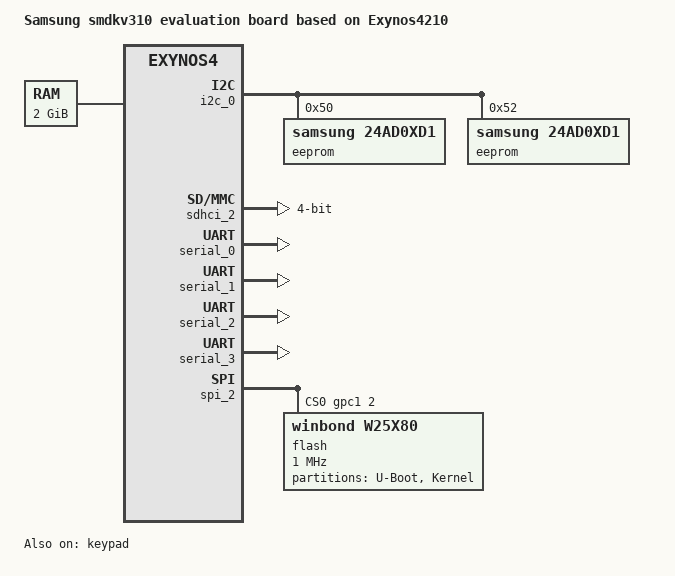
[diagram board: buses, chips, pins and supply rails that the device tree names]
// SPDX-License-Identifier: GPL-2.0
/*
 * Samsung's Exynos4210 based SMDKV310 board device tree source
 *
 * Copyright (c) 2010-2011 Samsung Electronics Co., Ltd.
 *		http://www.samsung.com
 * Copyright (c) 2010-2011 Linaro Ltd.
 *		www.linaro.org
 *
 * Device tree source file for Samsung's SMDKV310 board which is based on
 * Samsung's Exynos4210 SoC.
 */

/dts-v1/;
#include "exynos4210.dtsi"
#include <dt-bindings/gpio/gpio.h>
#include "exynos-mfc-reserved-memory.dtsi"

/ {
	model = "Samsung smdkv310 evaluation board based on Exynos4210";
	compatible = "samsung,smdkv310", "samsung,exynos4210", "samsung,exynos4";

	memory@40000000 {
		device_type = "memory";
		reg = <0x40000000 0x80000000>;
	};

	aliases {
		mmc0 = &sdhci_2;
	};

	chosen {
		bootargs = "root=/dev/ram0 rw ramdisk=8192 initrd=0x41000000,8M init=/linuxrc";
		stdout-path = "serial1:115200n8";
	};

	fixed-rate-clocks {
		xxti {
			compatible = "samsung,clock-xxti";
			clock-frequency = <12000000>;
		};

		xusbxti {
			compatible = "samsung,clock-xusbxti";
			clock-frequency = <24000000>;
		};

		pmic_ap_clk: pmic-ap-clk {
			/* Workaround for missing clock on PMIC */
			compatible = "fixed-clock";
			#clock-cells = <0>;
			clock-frequency = <32768>;
		};
	};
};

&cpu_thermal {
	cooling-maps {
		map0 {
			/* Corresponds to 800MHz */
			cooling-device = <&cpu0 2 2>;
		};
		map1 {
			/* Corresponds to 200MHz */
			cooling-device = <&cpu0 4 4>;
		};
	};
};

&i2c_0 {
	#address-cells = <1>;
	#size-cells = <0>;
	samsung,i2c-sda-delay = <100>;
	samsung,i2c-max-bus-freq = <100000>;
	status = "okay";

	eeprom@50 {
		compatible = "samsung,24ad0xd1";
		reg = <0x50>;
	};

	eeprom@52 {
		compatible = "samsung,24ad0xd1";
		reg = <0x52>;
	};
};

&keypad {
	samsung,keypad-num-rows = <2>;
	samsung,keypad-num-columns = <8>;
	linux,keypad-no-autorepeat;
	wakeup-source;
	pinctrl-names = "default";
	pinctrl-0 = <&keypad_rows &keypad_cols>;
	status = "okay";

	key-1 {
		keypad,row = <0>;
		keypad,column = <3>;
		linux,code = <2>;
	};

	key-2 {
		keypad,row = <0>;
		keypad,column = <4>;
		linux,code = <3>;
	};

	key-3 {
		keypad,row = <0>;
		keypad,column = <5>;
		linux,code = <4>;
	};

	key-4 {
		keypad,row = <0>;
		keypad,column = <6>;
		linux,code = <5>;
	};

	key-5 {
		keypad,row = <0>;
		keypad,column = <7>;
		linux,code = <6>;
	};

	key-a {
		keypad,row = <1>;
		keypad,column = <3>;
		linux,code = <30>;
	};

	key-b {
		keypad,row = <1>;
		keypad,column = <4>;
		linux,code = <48>;
	};

	key-c {
		keypad,row = <1>;
		keypad,column = <5>;
		linux,code = <46>;
	};

	key-d {
		keypad,row = <1>;
		keypad,column = <6>;
		linux,code = <32>;
	};

	key-e {
		keypad,row = <1>;
		keypad,column = <7>;
		linux,code = <18>;
	};
};

&pinctrl_1 {
	keypad_rows: keypad-rows-pins {
		samsung,pins = "gpx2-0", "gpx2-1";
		samsung,pin-function = <EXYNOS_PIN_FUNC_3>;
		samsung,pin-pud = <EXYNOS_PIN_PULL_UP>;
		samsung,pin-drv = <EXYNOS4_PIN_DRV_LV1>;
	};

	keypad_cols: keypad-cols-pins {
		samsung,pins = "gpx1-0", "gpx1-1", "gpx1-2", "gpx1-3",
			       "gpx1-4", "gpx1-5", "gpx1-6", "gpx1-7";
		samsung,pin-function = <EXYNOS_PIN_FUNC_3>;
		samsung,pin-pud = <EXYNOS_PIN_PULL_NONE>;
		samsung,pin-drv = <EXYNOS4_PIN_DRV_LV1>;
	};
};

&rtc {
	clocks = <&clock CLK_RTC>, <&pmic_ap_clk>;
	clock-names = "rtc", "rtc_src";
};

&sdhci_2 {
	bus-width = <4>;
	pinctrl-names = "default";
	pinctrl-0 = <&sd2_clk &sd2_cmd &sd2_cd &sd2_bus4>;
	status = "okay";
};

&serial_0 {
	status = "okay";
};

&serial_1 {
	status = "okay";
};

&serial_2 {
	status = "okay";
};

&serial_3 {
	status = "okay";
};

&spi_2 {
	cs-gpios = <&gpc1 2 GPIO_ACTIVE_HIGH>;
	status = "okay";

	flash@0 {
		#address-cells = <1>;
		#size-cells = <1>;
		compatible = "winbond,w25x80", "jedec,spi-nor";
		reg = <0>;
		spi-max-frequency = <1000000>;

		controller-data {
			samsung,spi-feedback-delay = <0>;
		};

		partition@0 {
			label = "U-Boot";
			reg = <0x0 0x40000>;
			read-only;
		};

		partition@40000 {
			label = "Kernel";
			reg = <0x40000 0xc0000>;
		};
	};
};
